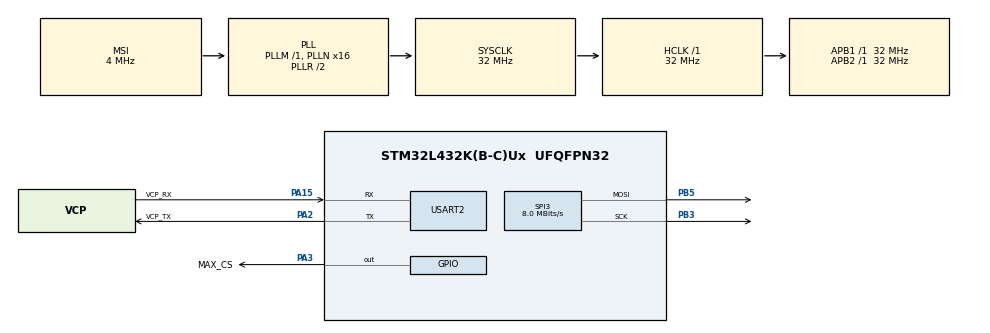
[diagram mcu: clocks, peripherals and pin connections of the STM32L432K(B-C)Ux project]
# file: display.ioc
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Mcu.Family=STM32L4
Mcu.Name=STM32L432K(B-C)Ux
Mcu.Package=UFQFPN32
NVIC.PriorityGroup=NVIC_PRIORITYGROUP_4
PA0.GPIO_Label=MCO [High speed clock in]
PA0.Mode=HSE-External-Clock-Source-for-LittleOrca
PA0.Signal=RCC_CK_IN
PA13\ (JTMS-SWDIO).GPIO_Label=SWDIO
PA13\ (JTMS-SWDIO).Mode=Serial_Wire
PA13\ (JTMS-SWDIO).Signal=SYS_JTMS-SWDIO
PA14\ (JTCK-SWCLK).GPIO_Label=SWCLK
PA14\ (JTCK-SWCLK).Mode=Serial_Wire
PA14\ (JTCK-SWCLK).Signal=SYS_JTCK-SWCLK
PA15\ (JTDI).GPIO_Label=VCP_RX
PA15\ (JTDI).Mode=Asynchronous
PA15\ (JTDI).Signal=USART2_RX
PA2.GPIO_Label=VCP_TX
PA2.Mode=Asynchronous
PA2.Signal=USART2_TX
PA3.GPIO_Label=MAX_CS
PA3.Signal=GPIO_Output
PB3\ (JTDO-TRACESWO).Mode=TX_Only_Simplex_Unidirect_Master
PB3\ (JTDO-TRACESWO).Signal=SPI3_SCK
PB5.Mode=TX_Only_Simplex_Unidirect_Master
PB5.Signal=SPI3_MOSI
PC14-OSC32_IN\ (PC14).Mode=LSE-External-Oscillator
PC14-OSC32_IN\ (PC14).Signal=RCC_OSC32_IN
PC15-OSC32_OUT\ (PC15).Mode=LSE-External-Oscillator
PC15-OSC32_OUT\ (PC15).Signal=RCC_OSC32_OUT
ProjectManager.HeapSize=0x200
ProjectManager.StackSize=0x400
ProjectManager.TargetToolchain=STM32CubeIDE
RCC.AHBFreq_Value=32000000
RCC.APB1Freq_Value=32000000
RCC.APB1TimFreq_Value=32000000
RCC.APB2Freq_Value=32000000
RCC.APB2TimFreq_Value=32000000
RCC.CortexFreq_Value=32000000
RCC.HCLKFreq_Value=32000000
RCC.HSE_VALUE=8000000
RCC.HSI16_VALUE=16000000
RCC.HSI48_VALUE=48000000
RCC.HSI_VALUE=16000000
RCC.MSI_VALUE=4000000
RCC.PLLMUL=RCC_PLLMUL_4
RCC.PLLN=16
RCC.SYSCLKFreq_VALUE=32000000
RCC.SYSCLKSource=RCC_SYSCLKSOURCE_PLLCLK
RCC.VCOOutputFreq_Value=64000000
SPI3.BaudRatePrescaler=SPI_BAUDRATEPRESCALER_4
SPI3.CalculateBaudRate=8.0 MBits/s
SPI3.DataSize=SPI_DATASIZE_8BIT
SPI3.Direction=SPI_DIRECTION_2LINES
SPI3.Mode=SPI_MODE_MASTER
SPI3.NSSPMode=SPI_NSS_PULSE_ENABLE
SPI3.VirtualType=VM_MASTER
USART2.VirtualMode-Asynchronous=VM_ASYNC
board=NUCLEO-L432KC

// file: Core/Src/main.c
/* USER CODE BEGIN Header */
/**
  ******************************************************************************
  * @file           : main.c
  * @brief          : Main program body
  ******************************************************************************
  * @attention
  *
  * Copyright (c) 2026 STMicroelectronics.
  * All rights reserved.
  *
  * This software is licensed under terms that can be found in the LICENSE file
  * in the root directory of this software component.
  * If no LICENSE file comes with this software, it is provided AS-IS.
  *
  ******************************************************************************
  */
/* USER CODE END Header */
#include "main.h"

SPI_HandleTypeDef hspi3;

UART_HandleTypeDef huart2;

void SystemClock_Config(void);
static void MX_GPIO_Init(void);
static void MX_USART2_UART_Init(void);
static void MX_SPI3_Init(void);

/* USER CODE BEGIN 0 */

void max7219_send(uint8_t reg, uint8_t data)
{
    HAL_GPIO_WritePin(MAX_CS_GPIO_Port, MAX_CS_Pin, GPIO_PIN_RESET);

    uint8_t bytes[2] = {reg, data};
    HAL_SPI_Transmit(&hspi3, bytes, 2, HAL_MAX_DELAY);

    HAL_GPIO_WritePin(MAX_CS_GPIO_Port, MAX_CS_Pin, GPIO_PIN_SET);
}

void max7219_init(void)
{
    max7219_send(0x0F, 0x00); // Display test uit
    max7219_send(0x0C, 0x01); // Shutdown uit (display aan)
    max7219_send(0x0B, 0x07); // Scan limit: 8 rijen
    max7219_send(0x09, 0x00); // Geen decode mode
    max7219_send(0x0A, 0x08); // Brightness
}

uint8_t smiley_2d[8][8] = {
    {0,0,1,1,1,1,0,0},
    {0,1,0,0,0,0,1,0},
    {1,0,1,0,0,1,0,1},
    {1,0,0,0,0,0,0,1},
    {1,0,1,0,0,1,0,1},
    {1,0,0,1,1,0,0,1},
    {0,1,0,0,0,0,1,0},
    {0,0,1,1,1,1,0,0}
};

uint8_t row_to_byte(uint8_t row[8])
{
    uint8_t value = 0;
    for (int i = 0; i < 8; i++)
    {
        value <<= 1;
        value |= (row[i] & 0x01);
    }
    return value;
}

void max7219_show_2d(uint8_t arr[8][8])
{
    for (uint8_t row = 0; row < 8; row++)
    {
        uint8_t byte = row_to_byte(arr[row]);
        max7219_send(row + 1, byte);
    }
}

void max7219_show_smiley(void)
{
    max7219_show_2d(smiley_2d);
}

/* USER CODE END 0 */

int main(void)
{

  /* MCU Configuration--------------------------------------------------------*/

  /* Reset of all peripherals, Initializes the Flash interface and the Systick. */
  HAL_Init();

  /* Configure the system clock */
  SystemClock_Config();

  /* Initialize all configured peripherals */
  MX_GPIO_Init();
  MX_USART2_UART_Init();
  MX_SPI3_Init();
  /* USER CODE BEGIN 2 */
  max7219_init();
  max7219_show_smiley();
  max7219_send(0x0A, 0x0F); // brightness max
  HAL_Delay(200);
  max7219_send(0x0A, 0x00); // brightness min
  HAL_Delay(200);
  max7219_send(0x0A, 0x08); // normal

  /* USER CODE END 2 */

  /* Infinite loop */
  while (1)
  {

  }
}

void SystemClock_Config(void)
{
  RCC_OscInitTypeDef RCC_OscInitStruct = {0};
  RCC_ClkInitTypeDef RCC_ClkInitStruct = {0};

  /** Configure the main internal regulator output voltage
  */
  if (HAL_PWREx_ControlVoltageScaling(PWR_REGULATOR_VOLTAGE_SCALE1) != HAL_OK)
  {
    Error_Handler();
  }

  /** Configure LSE Drive Capability
  */
  HAL_PWR_EnableBkUpAccess();
  __HAL_RCC_LSEDRIVE_CONFIG(RCC_LSEDRIVE_LOW);

  /** Initializes the RCC Oscillators according to the specified parameters
  * in the RCC_OscInitTypeDef structure.
  */
  RCC_OscInitStruct.OscillatorType = RCC_OSCILLATORTYPE_LSE|RCC_OSCILLATORTYPE_MSI;
  RCC_OscInitStruct.LSEState = RCC_LSE_ON;
  RCC_OscInitStruct.MSIState = RCC_MSI_ON;
  RCC_OscInitStruct.MSICalibrationValue = 0;
  RCC_OscInitStruct.MSIClockRange = RCC_MSIRANGE_6;
  RCC_OscInitStruct.PLL.PLLState = RCC_PLL_ON;
  RCC_OscInitStruct.PLL.PLLSource = RCC_PLLSOURCE_MSI;
  RCC_OscInitStruct.PLL.PLLM = 1;
  RCC_OscInitStruct.PLL.PLLN = 16;
  RCC_OscInitStruct.PLL.PLLP = RCC_PLLP_DIV7;
  RCC_OscInitStruct.PLL.PLLQ = RCC_PLLQ_DIV2;
  RCC_OscInitStruct.PLL.PLLR = RCC_PLLR_DIV2;
  if (HAL_RCC_OscConfig(&RCC_OscInitStruct) != HAL_OK)
  {
    Error_Handler();
  }

  /** Initializes the CPU, AHB and APB buses clocks
  */
  RCC_ClkInitStruct.ClockType = RCC_CLOCKTYPE_HCLK|RCC_CLOCKTYPE_SYSCLK
                              |RCC_CLOCKTYPE_PCLK1|RCC_CLOCKTYPE_PCLK2;
  RCC_ClkInitStruct.SYSCLKSource = RCC_SYSCLKSOURCE_PLLCLK;
  RCC_ClkInitStruct.AHBCLKDivider = RCC_SYSCLK_DIV1;
  RCC_ClkInitStruct.APB1CLKDivider = RCC_HCLK_DIV1;
  RCC_ClkInitStruct.APB2CLKDivider = RCC_HCLK_DIV1;

  if (HAL_RCC_ClockConfig(&RCC_ClkInitStruct, FLASH_LATENCY_1) != HAL_OK)
  {
    Error_Handler();
  }

  /** Enable MSI Auto calibration
  */
  HAL_RCCEx_EnableMSIPLLMode();
}

static void MX_SPI3_Init(void)
{

  /* SPI3 parameter configuration*/
  hspi3.Instance = SPI3;
  hspi3.Init.Mode = SPI_MODE_MASTER;
  hspi3.Init.Direction = SPI_DIRECTION_2LINES;
  hspi3.Init.DataSize = SPI_DATASIZE_8BIT;
  hspi3.Init.CLKPolarity = SPI_POLARITY_LOW;
  hspi3.Init.CLKPhase = SPI_PHASE_1EDGE;
  hspi3.Init.NSS = SPI_NSS_SOFT;
  hspi3.Init.BaudRatePrescaler = SPI_BAUDRATEPRESCALER_4;
  hspi3.Init.FirstBit = SPI_FIRSTBIT_MSB;
  hspi3.Init.TIMode = SPI_TIMODE_DISABLE;
  hspi3.Init.CRCCalculation = SPI_CRCCALCULATION_DISABLE;
  hspi3.Init.CRCPolynomial = 7;
  hspi3.Init.CRCLength = SPI_CRC_LENGTH_DATASIZE;
  hspi3.Init.NSSPMode = SPI_NSS_PULSE_ENABLE;
  if (HAL_SPI_Init(&hspi3) != HAL_OK)
  {
    Error_Handler();
  }

}

static void MX_USART2_UART_Init(void)
{

  huart2.Instance = USART2;
  huart2.Init.BaudRate = 115200;
  huart2.Init.WordLength = UART_WORDLENGTH_8B;
  huart2.Init.StopBits = UART_STOPBITS_1;
  huart2.Init.Parity = UART_PARITY_NONE;
  huart2.Init.Mode = UART_MODE_TX_RX;
  huart2.Init.HwFlowCtl = UART_HWCONTROL_NONE;
  huart2.Init.OverSampling = UART_OVERSAMPLING_16;
  huart2.Init.OneBitSampling = UART_ONE_BIT_SAMPLE_DISABLE;
  huart2.AdvancedInit.AdvFeatureInit = UART_ADVFEATURE_NO_INIT;
  if (HAL_UART_Init(&huart2) != HAL_OK)
  {
    Error_Handler();
  }

}

static void MX_GPIO_Init(void)
{
  GPIO_InitTypeDef GPIO_InitStruct = {0};

  /* GPIO Ports Clock Enable */
  __HAL_RCC_GPIOC_CLK_ENABLE();
  __HAL_RCC_GPIOA_CLK_ENABLE();
  __HAL_RCC_GPIOB_CLK_ENABLE();

  /*Configure GPIO pin Output Level */
  HAL_GPIO_WritePin(MAX_CS_GPIO_Port, MAX_CS_Pin, GPIO_PIN_RESET);

  /*Configure GPIO pin : MAX_CS_Pin */
  GPIO_InitStruct.Pin = MAX_CS_Pin;
  GPIO_InitStruct.Mode = GPIO_MODE_OUTPUT_PP;
  GPIO_InitStruct.Pull = GPIO_NOPULL;
  GPIO_InitStruct.Speed = GPIO_SPEED_FREQ_LOW;
  HAL_GPIO_Init(MAX_CS_GPIO_Port, &GPIO_InitStruct);

}

void Error_Handler(void)
{
  __disable_irq();
  while (1)
  {
  }
}
